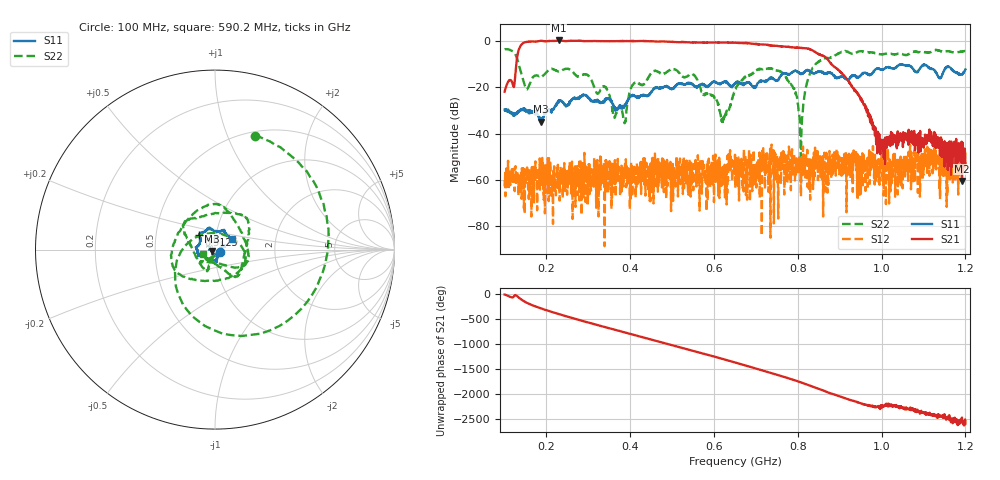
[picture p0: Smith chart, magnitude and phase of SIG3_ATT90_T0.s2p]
# Hz S DB R 50
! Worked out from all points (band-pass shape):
!   1601 points, 100 MHz to 1.2 GHz, reference 50 ohm
!   highest |S21| = 0.36 dB at 229.2 MHz (marker M1); lowest = -60.6 dB at 1.192 GHz (marker M2)
!   |S21| within 3 dB of the highest: 136.1 MHz to 787.4 MHz (651.3 MHz wide, 141 % of centre); 787.894 MHz to 788.8005 MHz (906.5 kHz wide, 0.115 % of centre)
!   lowest |S11| = -34.8 dB at 187.3 MHz (marker M3), VSWR 1.04, Z = 48.4 - j0.873 ohm
!   |S11| at or under -10 dB: start of sweep to 1.044 GHz; 1.044582 GHz to 1.044758 GHz (176.3 kHz wide, 0.0169 % of centre); 1.05 GHz to end of sweep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
!   |S22| runs from -61.1 to -3.4 dB; largest |S21 - S12| = 1
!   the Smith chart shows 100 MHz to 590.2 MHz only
!   S11 on the Smith chart (normalised r, x): 100 MHz: 1.06, -0.03; 512.5 MHz: 0.83, +0.13; 590.2 MHz: 1.21, +0.15
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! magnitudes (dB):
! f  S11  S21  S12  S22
! 100 MHz  -29.6  -21.9  -60.2  -3.5
! 121.3 MHz  -31.1  -19.7  -58.4  -4.6
! 139.9 MHz  -29.9  -1.5  -58.3  -14.0
! 187.3 MHz  -34.8  0.2  -59.0  -15.2
! 229.2 MHz  -26.5  0.4  -63.9  -13.1
! 283.6 MHz  -23.8  0.1  -75.3  -14.7
! 385.3 MHz  -28.6  0.1  -59.5  -35.1
! 406.6 MHz  -23.3  0.1  -56.6  -18.7
! 467.1 MHz  -20.3  -0.1  -63.1  -13.3
! 512.5 MHz  -18.5  -0.4  -58.3  -12.9
! 590.2 MHz  -18.9  -0.6  -55.7  -23.0
! 621.8 MHz  -17.8  -0.6  -54.2  -34.5
! 650 MHz  -18.3  -0.6  -49.2  -21.0
! 759.3 MHz  -15.0  -2.2  -62.0  -13.2
! 793 MHz  -12.7  -2.7  -60.4  -21.3
! 806.8 MHz  -14.3  -2.9  -60.3  -47.9
! 833.6 MHz  -13.6  -3.8  -54.5  -12.2
! 943.6 MHz  -15.9  -23.0  -51.5  -4.5
! 1.001 GHz  -12.3  -46.7  -53.9  -5.6
! 1.017 GHz  -11.3  -44.0  -52.3  -5.3
! 1.192 GHz  -14.4  -60.6  -50.8  -4.6
! 1.2 GHz  -12.2  -52.8  -54.7  -4.2
